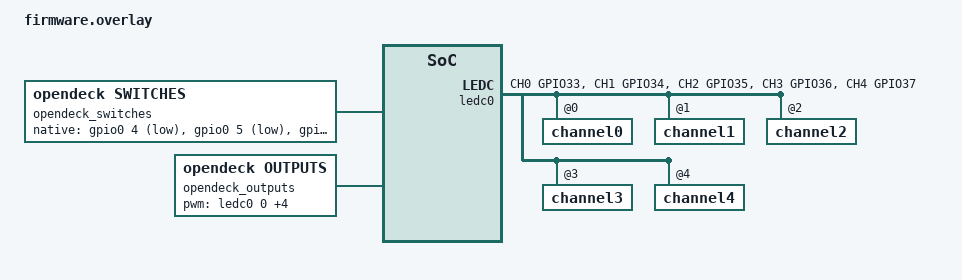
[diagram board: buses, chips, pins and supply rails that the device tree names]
#include <zephyr/dt-bindings/pwm/pwm.h>
#include <zephyr/dt-bindings/pinctrl/esp32s3-pinctrl.h>

/ {
    opendeck_metadata: opendeck-metadata {
        compatible = "opendeck,metadata";
        zephyr-board = "esp32s3_devkitc/esp32s3/procpu";
        board-name = "Waveshare ESP32-S3-ETH";
    };

    opendeck_transports: opendeck-transports {
        compatible = "opendeck,transports";
        network;
        usb;
    };

    opendeck_tests: opendeck-tests {
        compatible = "opendeck,tests";
        host;
    };

    opendeck_bulk_build: opendeck-bulk-build {
        compatible = "opendeck,bulk-build";
        app;
        host-test;
    };

    opendeck_switches: opendeck-switches {
        compatible = "opendeck,switches";
        mode = "native";
        native-gpios =
            <&gpio0 4 (GPIO_PULL_UP | GPIO_ACTIVE_LOW)>,
            <&gpio0 5 (GPIO_PULL_UP | GPIO_ACTIVE_LOW)>,
            <&gpio0 6 (GPIO_PULL_UP | GPIO_ACTIVE_LOW)>,
            <&gpio0 7 (GPIO_PULL_UP | GPIO_ACTIVE_LOW)>;
    };

    opendeck_outputs: opendeck-outputs {
        compatible = "opendeck,outputs";
        mode = "pwm";
        pwms =
            <&ledc0 0 PWM_MSEC(1) PWM_POLARITY_NORMAL>,
            <&ledc0 1 PWM_MSEC(1) PWM_POLARITY_NORMAL>,
            <&ledc0 2 PWM_MSEC(1) PWM_POLARITY_NORMAL>,
            <&ledc0 3 PWM_MSEC(1) PWM_POLARITY_NORMAL>,
            <&ledc0 4 PWM_MSEC(1) PWM_POLARITY_NORMAL>;
    };

    opendeck_i2c: opendeck-i2c {
        compatible = "opendeck,i2c";
        bus = <&opendeck_i2c_bus>;
    };
};

&pinctrl {
    opendeck_ledc0_default: opendeck_ledc0_default {
        group1 {
            pinmux = <LEDC_CH0_GPIO33>,
                     <LEDC_CH1_GPIO34>,
                     <LEDC_CH2_GPIO35>,
                     <LEDC_CH3_GPIO36>,
                     <LEDC_CH4_GPIO37>;
            output-enable;
        };
    };
};

&ledc0 {
    pinctrl-0 = <&opendeck_ledc0_default>;
    pinctrl-names = "default";
    status = "okay";
    #address-cells = <1>;
    #size-cells = <0>;

    channel0@0 {
        reg = <0>;
        timer = <0>;
    };

    channel1@1 {
        reg = <1>;
        timer = <0>;
    };

    channel2@2 {
        reg = <2>;
        timer = <0>;
    };

    channel3@3 {
        reg = <3>;
        timer = <0>;
    };

    channel4@4 {
        reg = <4>;
        timer = <0>;
    };
};
